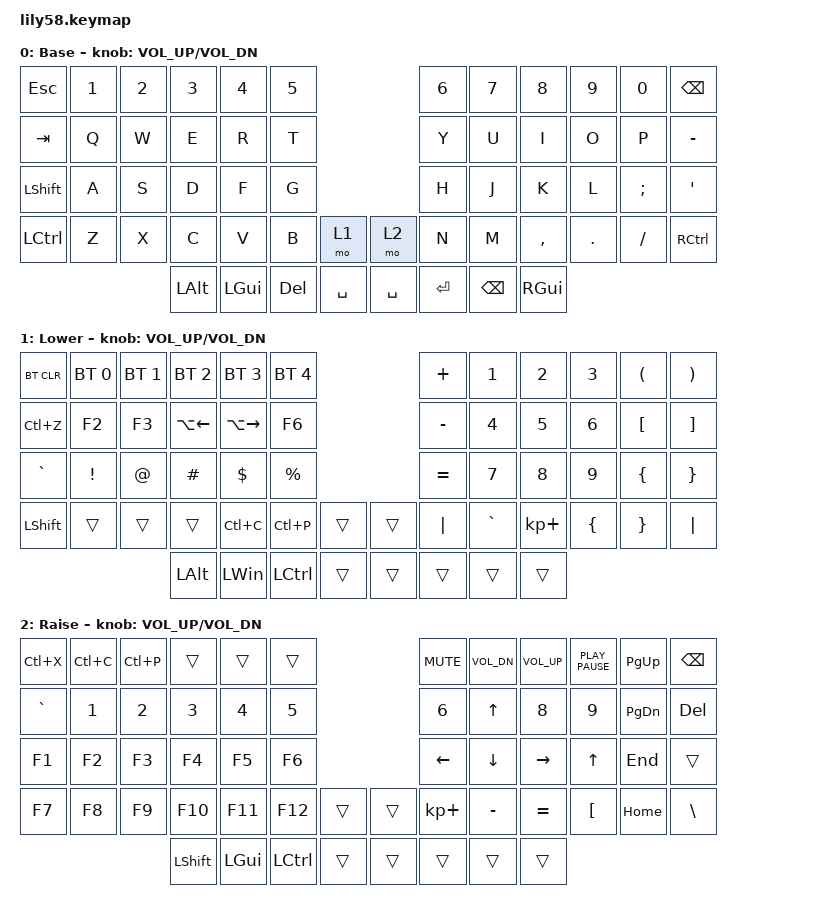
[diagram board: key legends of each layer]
/*
 * Copyright (c) 2020 The ZMK Contributors
 *
 * SPDX-License-Identifier: MIT
 */

#include <behaviors.dtsi>
#include <dt-bindings/zmk/bt.h>
#include <dt-bindings/zmk/keys.h>

/ {
    keymap {
        compatible = "zmk,keymap";

        default_layer {
            // ------------------------------------------------------------------------------------------------------------
            // |  ESC  |  1  |  2  |  3   |  4   |  5   |                   |  6   |  7    |  8    |  9   |   0   |   `   |
            // |  TAB  |  Q  |  W  |  E   |  R   |  T   |                   |  Y   |  U    |  I    |  O   |   P   |   -   |
            // |  CTRL |  A  |  S  |  D   |  F   |  G   |                   |  H   |  J    |  K    |  L   |   ;   |   '   |
            // | SHIFT |  Z  |  X  |  C   |  V   |  B   |   "["  |  |  "]"  |  N   |  M    |  ,    |  .   |   /   | SHIFT |
            //                     | ALT  | GUI  | LOWER|  SPACE |  | ENTER | RAISE| BSPC  | GUI   |

            display-name = "Base";
            bindings = <
&kp ESC           &kp N1  &kp N2  &kp N3    &kp N4    &kp N5                           &kp N6      &kp N7    &kp N8     &kp N9   &kp N0    &kp BACKSPACE
&kp TAB           &kp Q   &kp W   &kp E     &kp R     &kp T                            &kp Y       &kp U     &kp I      &kp O    &kp P     &kp MINUS
&kp LEFT_SHIFT    &kp A   &kp S   &kp D     &kp F     &kp G                            &kp H       &kp J     &kp K      &kp L    &kp SEMI  &kp SQT
&kp LEFT_CONTROL  &kp Z   &kp X   &kp C     &kp V     &kp B    &mo 1        &mo 2      &kp N       &kp M     &kp COMMA  &kp DOT  &kp FSLH  &kp RIGHT_CONTROL
                                  &kp LALT  &kp LGUI  &kp DEL  &kp SPACE    &kp SPACE  &kp RETURN  &kp BSPC  &kp RGUI
            >;

            sensor-bindings = <&inc_dec_kp C_VOL_UP C_VOL_DN>;
        };

        lower_layer {
            // ------------------------------------------------------------------------------------------------------------
            // | BTCLR | BT1 | BT2 |  BT3 |  BT4 |  BT5 |                   |      |       |       |      |       |       |
            // |  F1   |  F2 |  F3 |  F4  |  F5  |  F6  |                   |  F7  |  F8   |  F9   |  F10 |  F11  |  F12  |
            // |   `   |  !  |  @  |  #   |  $   |  %   |                   |  ^   |  &    |  *    |  (   |   )   |   ~   |
            // |       |     |     |      |      |      |        |  |       |      |  _    |  +    |  {   |   }   |  "|"  |
            //                     |      |      |      |        |  |       |      |       |       |

            display-name = "Lower";
            bindings = <
&bt BT_CLR      &bt BT_SEL 0  &bt BT_SEL 1  &bt BT_SEL 2  &bt BT_SEL 3   &bt BT_SEL 4                        &kp PLUS   &kp NUMBER_1  &kp NUMBER_2  &kp NUMBER_3  &kp LEFT_PARENTHESIS  &kp RIGHT_PARENTHESIS
&kp LC(Z)       &kp F2        &kp F3        &kp LA(LEFT)  &kp LA(RIGHT)  &kp F6                              &kp MINUS  &kp NUMBER_4  &kp N5        &kp NUMBER_6  &kp LEFT_BRACKET      &kp RIGHT_BRACKET
&kp GRAVE       &kp EXCL      &kp AT        &kp HASH      &kp DOLLAR     &kp PRCNT                           &kp EQUAL  &kp N7        &kp N8        &kp N9        &kp LEFT_BRACE        &kp RIGHT_BRACE
&kp LEFT_SHIFT  &trans        &trans        &trans        &kp LC(C)      &kp LC(P)         &trans    &trans  &kp PIPE   &kp GRAVE     &kp KP_PLUS   &kp LBRC      &kp RBRC              &kp PIPE
                                            &kp LEFT_ALT  &kp LEFT_WIN   &kp LEFT_CONTROL  &trans    &trans  &trans     &trans        &trans
            >;

            sensor-bindings = <&inc_dec_kp C_VOL_UP C_VOL_DN>;
        };

        raise_layer {
            // ------------------------------------------------------------------------------------------------------------
            // |       |     |     |      |      |      |                   |      |       |       |      |       |       |
            // |   `   |  1  |  2  |  3   |  4   |  5   |                   |  6   |   7   |   8   |  9   |   0   |       |
            // |   F1  |  F2 |  F3 |  F4  |  F5  |  F6  |                   |      |   <-  |   v   |  ^   |  ->   |       |
            // |   F7  |  F8 |  F9 |  F10 |  F11 |  F12 |        |  |       |  +   |   -   |   =   |  [   |   ]   |   \   |
            //                     |      |      |      |        |  |       |      |       |       |

            display-name = "Raise";
            bindings = <
&kp LC(X)  &kp LC(C)  &kp LC(P)  &trans          &trans        &trans                              &kp K_MUTE   &kp K_VOL_DN  &kp K_VOLUME_UP  &kp K_PLAY_PAUSE  &kp PAGE_UP    &kp BACKSPACE
&kp GRAVE  &kp N1     &kp N2     &kp N3          &kp N4        &kp N5                              &kp N6       &kp UP_ARROW  &kp N8           &kp N9            &kp PAGE_DOWN  &kp DEL
&kp F1     &kp F2     &kp F3     &kp F4          &kp F5        &kp F6                              &kp LEFT     &kp DOWN      &kp RIGHT        &kp UP            &kp END        &trans
&kp F7     &kp F8     &kp F9     &kp F10         &kp F11       &kp F12           &trans    &trans  &kp KP_PLUS  &kp MINUS     &kp EQUAL        &kp LBKT          &kp HOME       &kp BSLH
                                 &kp LEFT_SHIFT  &kp LEFT_GUI  &kp LEFT_CONTROL  &trans    &trans  &trans       &trans        &trans
            >;

            sensor-bindings = <&inc_dec_kp C_VOL_UP C_VOL_DN>;
        };

        extra_1 { status = "reserved"; };

        extra_2 { status = "reserved"; };

        extra_3 { status = "reserved"; };
    };
};
